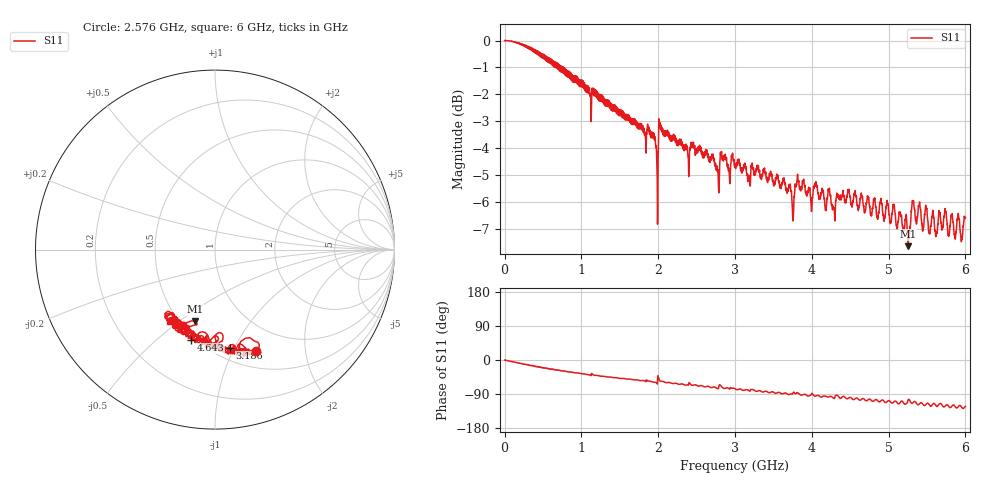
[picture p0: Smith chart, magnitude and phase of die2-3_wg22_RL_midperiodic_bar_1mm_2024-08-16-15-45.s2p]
!Keysight Technologies,P9374A,MY57304198,A.17.20.09
!Date: Friday, August 16, 2024 15:45:53
!Correction: S11(C  1-Port  )
!S21(C  1-Port  )
!S12(Off)
!S22(Off)
!S2P File: Measurements: S11, S21, S12, S22:
# Hz S  dB  R 50
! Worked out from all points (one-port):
!   6000 points, 300 kHz to 6 GHz, reference 50 ohm
!   lowest |S11| = -7.6 dB at 5.254 GHz (marker M1), VSWR 2.42, Z = 29.7 - j28.7 ohm
!   |S11| at or under -10 dB: nowhere
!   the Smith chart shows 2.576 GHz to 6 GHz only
!   S11 on the Smith chart (normalised r, x): 2.576 GHz: 0.69, -1.23; 3.186 GHz: 0.61, -0.96; 4.643 GHz: 0.48, -0.66; 6 GHz: 0.45, -0.46
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300000  -0.00 -0.0  -200.00 45.0  -200.00 45.0  -200.00 45.0
5.033587e8  -0.50 -20.1  -200.00 45.0  -200.00 45.0  -200.00 45.0
1.000417e9  -1.71 -36.5  -200.00 45.0  -200.00 45.0  -200.00 45.0
1.874519e9  -3.34 -55.3  -200.00 45.0  -200.00 45.0  -200.00 45.0
1.963529e9  -3.81 -58.7  -200.00 45.0  -200.00 45.0  -200.00 45.0
2.000533e9  -4.17 -46.0  -200.00 45.0  -200.00 45.0  -200.00 45.0
2.026536e9  -3.23 -55.7  -200.00 45.0  -200.00 45.0  -200.00 45.0
2.108546e9  -3.50 -59.7  -200.00 45.0  -200.00 45.0  -200.00 45.0
2.5756e9  -4.30 -68.1  -200.00 45.0  -200.00 45.0  -200.00 45.0
2.777624e9  -4.78 -76.0  -200.00 45.0  -200.00 45.0  -200.00 45.0
2.819629e9  -4.20 -68.8  -200.00 45.0  -200.00 45.0  -200.00 45.0
3.00065e9  -4.56 -76.2  -200.00 45.0  -200.00 45.0  -200.00 45.0
3.185672e9  -5.14 -81.5  -200.00 45.0  -200.00 45.0  -200.00 45.0
3.700732e9  -5.43 -91.3  -200.00 45.0  -200.00 45.0  -200.00 45.0
3.787742e9  -5.41 -89.0  -200.00 45.0  -200.00 45.0  -200.00 45.0
4.000767e9  -6.19 -88.0  -200.00 45.0  -200.00 45.0  -200.00 45.0
4.642842e9  -5.69 -104.7  -200.00 45.0  -200.00 45.0  -200.00 45.0
5.000883e9  -6.32 -107.1  -200.00 45.0  -200.00 45.0  -200.00 45.0
5.215909e9  -6.63 -116.8  -200.00 45.0  -200.00 45.0  -200.00 45.0
5.253913e9  -7.63 -105.5  -200.00 45.0  -200.00 45.0  -200.00 45.0
5.387929e9  -6.14 -118.2  -200.00 45.0  -200.00 45.0  -200.00 45.0
6e9  -6.56 -122.4  -200.00 45.0  -200.00 45.0  -200.00 45.0
